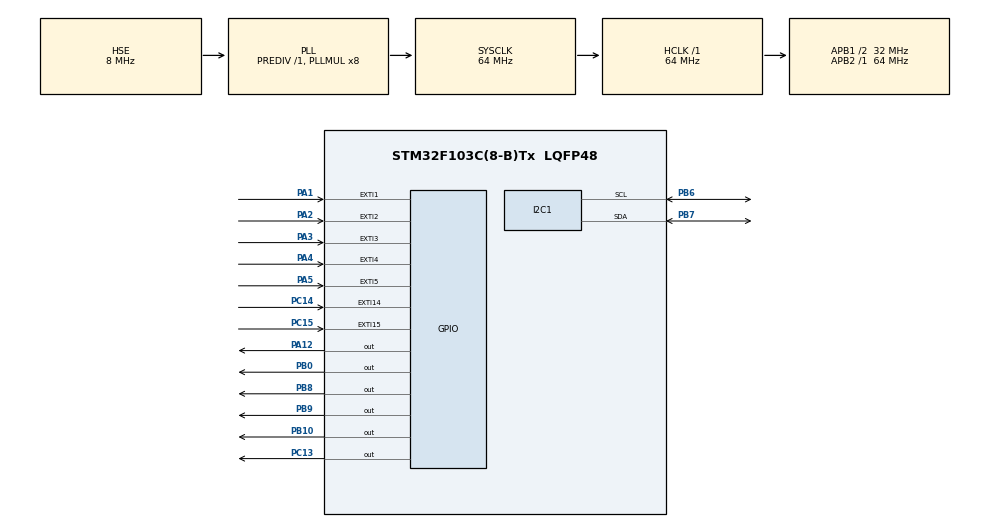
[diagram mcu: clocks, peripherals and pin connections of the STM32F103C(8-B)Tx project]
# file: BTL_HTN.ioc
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Mcu.Family=STM32F1
Mcu.Name=STM32F103C(8-B)Tx
Mcu.Package=LQFP48
NVIC.EXTI1_IRQn=true\:4\:0\:true\:false\:true\:true\:true\:true
NVIC.EXTI2_IRQn=true\:11\:0\:true\:false\:true\:true\:true\:true
NVIC.EXTI3_IRQn=true\:11\:0\:true\:false\:true\:true\:true\:true
NVIC.EXTI4_IRQn=true\:11\:0\:true\:false\:true\:true\:true\:true
NVIC.EXTI9_5_IRQn=true\:11\:0\:true\:false\:true\:true\:true\:true
NVIC.PriorityGroup=NVIC_PRIORITYGROUP_4
NVIC.TIM2_IRQn=true\:10\:0\:true\:false\:true\:true\:true\:true
NVIC.TIM3_IRQn=true\:12\:0\:true\:false\:true\:true\:true\:true
NVIC.TIM4_IRQn=true\:0\:0\:false\:false\:true\:true\:true\:true
PA1.GPIO_ModeDefaultEXTI=GPIO_MODE_IT_RISING_FALLING
PA1.GPIO_PuPd=GPIO_PULLUP
PA1.Signal=GPXTI1
PA12.Signal=GPIO_Output
PA2.GPIO_ModeDefaultEXTI=GPIO_MODE_IT_RISING_FALLING
PA2.GPIO_PuPd=GPIO_PULLUP
PA2.Signal=GPXTI2
PA3.GPIO_ModeDefaultEXTI=GPIO_MODE_IT_RISING_FALLING
PA3.GPIO_PuPd=GPIO_PULLUP
PA3.Signal=GPXTI3
PA4.GPIO_ModeDefaultEXTI=GPIO_MODE_IT_RISING_FALLING
PA4.GPIO_PuPd=GPIO_PULLUP
PA4.Signal=GPXTI4
PA5.GPIO_ModeDefaultEXTI=GPIO_MODE_IT_RISING_FALLING
PA5.GPIO_PuPd=GPIO_PULLUP
PA5.Signal=GPXTI5
PB0.GPIO_PuPd=GPIO_PULLDOWN
PB0.Signal=GPIO_Output
PB10.GPIO_PuPd=GPIO_PULLDOWN
PB10.Signal=GPIO_Output
PB6.Mode=I2C
PB6.Signal=I2C1_SCL
PB7.Mode=I2C
PB7.Signal=I2C1_SDA
PB8.GPIO_PuPd=GPIO_PULLDOWN
PB8.Signal=GPIO_Output
PB9.GPIO_PuPd=GPIO_PULLDOWN
PB9.Signal=GPIO_Output
PC13-TAMPER-RTC.GPIO_PuPd=GPIO_PULLUP
PC13-TAMPER-RTC.Signal=GPIO_Output
PC14-OSC32_IN.GPIO_ModeDefaultEXTI=GPIO_MODE_IT_RISING
PC14-OSC32_IN.GPIO_PuPd=GPIO_PULLUP
PC14-OSC32_IN.Signal=GPXTI14
PC15-OSC32_OUT.GPIO_ModeDefaultEXTI=GPIO_MODE_IT_RISING
PC15-OSC32_OUT.GPIO_PuPd=GPIO_PULLUP
PC15-OSC32_OUT.Signal=GPXTI15
PD0-OSC_IN.Mode=HSE-External-Oscillator
PD0-OSC_IN.Signal=RCC_OSC_IN
PD1-OSC_OUT.Mode=HSE-External-Oscillator
PD1-OSC_OUT.Signal=RCC_OSC_OUT
ProjectManager.HeapSize=0x200
ProjectManager.StackSize=0x400
ProjectManager.TargetToolchain=STM32CubeIDE
RCC.AHBFreq_Value=64000000
RCC.APB1CLKDivider=RCC_HCLK_DIV2
RCC.APB1Freq_Value=32000000
RCC.APB1TimFreq_Value=64000000
RCC.APB2Freq_Value=64000000
RCC.APB2TimFreq_Value=64000000
RCC.HCLKFreq_Value=64000000
RCC.PLLMUL=RCC_PLL_MUL8
RCC.PLLSourceVirtual=RCC_PLLSOURCE_HSE
RCC.SYSCLKFreq_VALUE=64000000
RCC.SYSCLKSource=RCC_SYSCLKSOURCE_PLLCLK
RCC.USBFreq_Value=64000000
TIM2.AutoReloadPreload=TIM_AUTORELOAD_PRELOAD_ENABLE
TIM2.Prescaler=63
TIM3.AutoReloadPreload=TIM_AUTORELOAD_PRELOAD_ENABLE
TIM3.Period=300
TIM3.Prescaler=63000
TIM4.AutoReloadPreload=TIM_AUTORELOAD_PRELOAD_ENABLE
TIM4.Period=1000
TIM4.Prescaler=63000
VP_TIM2_VS_ClockSourceINT.Mode=Internal
VP_TIM3_VS_ClockSourceINT.Mode=Internal
VP_TIM4_VS_ClockSourceINT.Mode=Internal
board=custom

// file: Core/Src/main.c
/* USER CODE BEGIN Header */
/**
  ******************************************************************************
  * @file           : main.c
  * @brief          : Main program body
  ******************************************************************************
  * @attention
  *
  * Copyright (c) 2024 STMicroelectronics.
  * All rights reserved.
  *
  * This software is licensed under terms that can be found in the LICENSE file
  * in the root directory of this software component.
  * If no LICENSE file comes with this software, it is provided AS-IS.
  *
  ******************************************************************************
  */
/* USER CODE END Header */
#include "main.h"

/* USER CODE BEGIN PTD */
#include "LCD.h"
#include <string.h>
#include <stdio.h>
/* USER CODE END PTD */

/* USER CODE BEGIN PD */
#include <string.h>
#include <stdio.h>
#include <stdbool.h>
/* USER CODE END PD */

I2C_HandleTypeDef hi2c1;

TIM_HandleTypeDef htim2;
TIM_HandleTypeDef htim3;
TIM_HandleTypeDef htim4;

void SystemClock_Config(void);
static void MX_GPIO_Init(void);
static void MX_TIM2_Init(void);
static void MX_TIM3_Init(void);
static void MX_I2C1_Init(void);
static void MX_TIM4_Init(void);
/* USER CODE BEGIN PFP */
void doc_dht11(void);
void xu_ly_tick_dht11(uint8_t* tick,uint8_t* data_dht11);
/* USER CODE END PFP */

/* USER CODE BEGIN 0 */
uint8_t tick[100];
uint8_t data_dht11[4] = {0x00,0x00,0x00,0x00};
volatile uint32_t tick_lan_truoc = 0;
volatile uint32_t tick_hien_tai =0;
volatile uint32_t thoi_gian_tick = 0;
int count_tick =0;

uint32_t debounceDelay = 400; // Th�?i gian ch�? debounce (miliseconds)
volatile uint32_t lastDebounceTime = 0; // Th�?i gian debounce cuối cùng
uint32_t currentTime =0;
volatile uint32_t lastDebounceTime2 = 0; // Th�?i gian debounce cuối cùng
uint32_t currentTime2 =0;
volatile uint32_t lastDebounceTime3 = 0; // Th�?i gian debounce cuối cùng
uint32_t currentTime3 =0;
volatile uint32_t lastDebounceTime4 = 0; // Th�?i gian debounce cuối cùng
uint32_t currentTime4 =0;
int flag_number=0;

int num1 =0;
int num2=0;
int num3=0;
int num4=0;
int num5 =0;
int num6 =0;
int num7=0;
int num8 =0;
int num9 =0;
int num0 =0;
int num_sao =0;
int num_thang =0;
volatile int led =0, quat =0, bom =0;
int mode = 0;
uint64_t count =0;
int flag_ngat_timer3 =1;
char  nhiet_do[20],do_am[20];
int state_lcd =0;
char mat_khau_dung[6] = {1,2,3,4,5,6};
char mat_khau_user[6] = {0,0,0,0,0,0};
int check_pass_LCD =0;
int count_mat_khau=0;
int count_may_chu_nhap_vao=0;
int flag_di_qua_nhap_mat_khau =0;
int flag_chuyen_lcd=0;
int flag_lan_dau_nhap_mat_khau =0;
int flag_lan_dau_cai_bao_thuc =1;
int count_set_ngay=0;

int flag_mode_tu_dong=1;
int flag_mode_bang_tay=0;

enum week{Mo , Tu, We, Th, Fr , Sa, Su};

int ngay=0;
int ngay_bao_thuc =0;
int thang=0;
int thang_bao_thuc=0;
int nam=0;
int nam_bao_thuc=0;
int gio=0;
int gio_bao_thuc=0;
int phut=0;
int phut_bao_thuc=0;
int giay=0;
int giay_bao_thuc=0;
int bao_nhiet_do =0;
char ngay_string[20];
char gio_string[20];
char ngay_bao_thuc_string[20];
char gio_bao_thuc_string[20];
int flag_cho_phep_chuyen_lcd =1;

int count_set_ngay1 =0;
int count_set_bao_thuc1 =0;
int count_set_bao_thuc =0;
uint8_t val_set_ngay[14] ;
uint8_t val_set_ngay_bao_thuc[14] ;

uint8_t value_ngay_bao_thuc=0;
uint8_t value_thang_bao_thuc=0;
int value_nam_bao_thuc =30;
uint8_t value_giay_bao_thuc=0;
uint8_t value_phut_bao_thuc=0;
uint8_t value_gio_bao_thuc=0;

bool flag_cho_phep_nhan_nut =1;
#define DS3231_ADDRESS 0xD0

// Convert normal decimal numbers to binary coded decimal
uint8_t decToBcd(int val)
{
  return (uint8_t)( (val/10*16) + (val%10) );
}
// Convert binary coded decimal to normal decimal numbers
int bcdToDec(uint8_t val)
{
  return (int)( (val/16*10) + (val%16) );
}

typedef struct {
	uint8_t seconds;
	uint8_t minutes;
	uint8_t hour;
	uint8_t dayofweek;
	uint8_t dayofmonth;
	uint8_t month;
	uint8_t year;
} TIME;

TIME time;

// function to set time

void Set_Time (uint8_t sec, uint8_t min, uint8_t hour, uint8_t dow, uint8_t dom, uint8_t month, uint8_t year)
{
	uint8_t set_time[7];
	set_time[0] = decToBcd(sec);
	set_time[1] = decToBcd(min);
	set_time[2] = decToBcd(hour);
	set_time[3] = decToBcd(dow);
	set_time[4] = decToBcd(dom);
	set_time[5] = decToBcd(month);
	set_time[6] = decToBcd(year);

	HAL_I2C_Mem_Write(&hi2c1, DS3231_ADDRESS, 0x00, 1, set_time, 7, 1000);
}

void Get_Time (void)
{
	uint8_t get_time[7];
	HAL_I2C_Mem_Read(&hi2c1, DS3231_ADDRESS, 0x00, 1, get_time, 7, 1000);
	time.seconds = bcdToDec(get_time[0]);
	time.minutes = bcdToDec(get_time[1]);
	time.hour = bcdToDec(get_time[2]);
	time.dayofweek = bcdToDec(get_time[3]);
	time.dayofmonth = bcdToDec(get_time[4]);
	time.month = bcdToDec(get_time[5]);
	time.year = bcdToDec(get_time[6]);
}

void lay_data_tu_lcd(uint8_t *value_set_ngay,uint8_t* ngay,uint8_t *thang, int* nam,uint8_t *gio,uint8_t *phut,uint8_t *giay)
{
	*ngay = value_set_ngay[0]*10 + value_set_ngay[1];
	*thang = value_set_ngay[2]*10 + value_set_ngay[3];
	*nam = value_set_ngay[4]*1000 + value_set_ngay[5]*100 + value_set_ngay[6]*10 + value_set_ngay[7] ;
	*gio = value_set_ngay[8]*10 + value_set_ngay[9];
	*phut = value_set_ngay[10]*10 + value_set_ngay[11];
	*giay = value_set_ngay[12]*10 + value_set_ngay[13];
}

/* USER CODE END 0 */

int main(void)
{

  /* MCU Configuration--------------------------------------------------------*/

  /* Reset of all peripherals, Initializes the Flash interface and the Systick. */
  HAL_Init();

  /* Configure the system clock */
  SystemClock_Config();

  /* Initialize all configured peripherals */
  MX_GPIO_Init();
  MX_TIM2_Init();
  MX_TIM3_Init();
  MX_I2C1_Init();
  MX_TIM4_Init();
  /* USER CODE BEGIN 2 */
  lcd_init();
  HAL_Delay(100);
  lcd_clear();
  HAL_TIM_Base_Stop_IT(&htim2);
  HAL_TIM_Base_Start_IT(&htim4);
  Set_Time(20, 30, 20, 5, 26, 4, 24);
  HAL_Delay(300);
  /* USER CODE END 2 */

  /* Infinite loop */
  while (1)
  {

    /* USER CODE BEGIN 3 */
	  // lưu ý khi cách đ�?c dht11 là dùng ngắt ngoài nên sử dụng ngắt ưu tiên cao nhất
	  // trước khi đ�?c dht11 thì g�?i hàm doc_dht11() sau đó delay 10ms và g�?i hàm xy_ly_tick_dht11
	  HAL_Delay(500);
		doc_dht11();
		HAL_Delay(10);
		xu_ly_tick_dht11(tick,data_dht11); // hàm này lấy pointer cho ra data_dht11 là 1 mảng với
		/* tương ứng 	data_dht11[0] là phần nguyên độ ẩm
						data_dht11[0] là phần thập phân độ ẩm
						data_dht11[0] là phần nguyên nhiệt độ
						data_dht11[0] là phần thập phân nhiệt độ
						*/

		bool a = (time.year == value_nam_bao_thuc)? 1:0 ;
		bool b = (time.month == value_thang_bao_thuc)? 1:0 ;
		bool c = (time.dayofmonth == value_ngay_bao_thuc)? 1:0 ;
		bool d = (time.hour == value_gio_bao_thuc)? 1:0 ;
		bool e = (time.minutes == value_phut_bao_thuc)? 1:0 ;
		bool f = (time.seconds >= value_giay_bao_thuc)? 1:0 ;
		bool flag_bat_bao_thuc = a&b&c&d&e&f;
		if(flag_bat_bao_thuc)
		{
			HAL_GPIO_WritePin(GPIOC, GPIO_PIN_13, 0);
		} else {
			HAL_GPIO_WritePin(GPIOC, GPIO_PIN_13, 1);
		}

		if(flag_ngat_timer3)
		{
			flag_ngat_timer3=0;
			switch(state_lcd%6) {
				case 0:
				{

					  sprintf(nhiet_do,"Nhiet do:%d.%doC", data_dht11[2], data_dht11[3]); // hàm này ghép chuỗi thành chuỗi nhiet_do để tiện hiển thị LCD
					  sprintf(do_am, "Do am:  %d.%d ", data_dht11[0],data_dht11[1]);		// hàm ghép chuỗi độ ẩm để hiển thị LCD
					  lcd_send_cmd (0x0C);
					  lcd_put_cur(0,1);
					  lcd_send_string(nhiet_do);
					  lcd_put_cur(1,1);
					  lcd_send_string(do_am);
					  break;
				}
				case 1:
				{

					if(flag_chuyen_lcd)
					{
						count_mat_khau=-2;
						count_may_chu_nhap_vao=0;
						flag_lan_dau_nhap_mat_khau =1;
						flag_chuyen_lcd=0;
						lcd_clear();
						lcd_put_cur(0,1);
						lcd_send_string("Nhap mat khau:");
						lcd_put_cur(1,0);
					}
						count_mat_khau++;
						count_may_chu_nhap_vao++;
						if((flag_number <= 9) && (flag_number >=0))
						{
							mat_khau_user[count_mat_khau] = flag_number;
						}
						  switch(flag_number) {
							  case 11:
							  {
								  for(int i=0 ;i < 6 ; i++)
									{
										if(mat_khau_user[i] != mat_khau_dung[i])
										{
											check_pass_LCD=0;
											break;
										}
										check_pass_LCD=1;
									}
									for(int i=0;i<6;i++)
									{
										mat_khau_user[i] =0;
									}
									if(check_pass_LCD) {
										state_lcd =2;
										flag_ngat_timer3=1;
										lcd_clear();
										lcd_put_cur(0,1);
										lcd_send_string("Mat khau dung ->>");
										flag_di_qua_nhap_mat_khau=1;
										HAL_Delay(2000);
										flag_number=0;
									} else {
										state_lcd =1;
										flag_chuyen_lcd=1;
										flag_ngat_timer3=1;
										lcd_clear();
										lcd_put_cur(0,1);
										lcd_send_string("Mat khau sai ");
										lcd_put_cur(1,1);
										lcd_send_string("Moi nhap lai  ");
										HAL_Delay(2000);
										flag_number=0;
									}
								  break;
							  }
							  default :
							  {
								  if(count_mat_khau <0)
								  {

								  } else {

								  lcd_send_string("*");
								  }
								  break;
							  }
						  }
					  break;
				}

				case 3:
				{
					if(flag_chuyen_lcd)
					{
						flag_chuyen_lcd=0;
						lcd_clear();
						lcd_put_cur(0,1);
						sprintf(ngay_string,"%02d / %02d / 20%02d",time.dayofmonth,time.month,time.year);
						lcd_send_string(ngay_string);
						sprintf(gio_string,"%02d : %02d : %02d ",time.hour,time.minutes,time.seconds);
						lcd_put_cur(1,1);
						lcd_send_string(gio_string);
						lcd_put_cur(0,1);
						lcd_send_cmd (0x0F);
						count_set_ngay=0;
						count_set_ngay1=0;
					}
					count_set_ngay++;
					if(count_set_ngay>=2)

					{
					 	 count_set_ngay1 = count_set_ngay - 2;
					 	 val_set_ngay[count_set_ngay1] = flag_number;
						 switch(flag_number)
						 {
							 case 0:
							 {
								 lcd_send_string("0");
								 break;
							 }
							 case 1:
							 {
								 lcd_send_string("1");
								 break;
							 }
							 case 2:
							 {
								 lcd_send_string("2");
								 break;
							 }
							 case 3:
							 {
								 lcd_send_string("3");
								 break;
							 }
							 case 4:
							 {
								 lcd_send_string("4");
								 break;
							 }
							 case 5:
							 {
								 lcd_send_string("5");
								 break;
							 }
							 case 6:
							 {
								 lcd_send_string("6");
								 break;
							 }
							 case 7:
							 {
								 lcd_send_string("7");
								 break;
							 }
							 case 8:
							 {
								 lcd_send_string("8");
								 break;
							 }
							 case 9:
							 {
								 lcd_send_string("9");
								 break;
							 }
							 case 11:
							 {
								 uint8_t value_ngay=0;
								 uint8_t value_thang=0;
								 int value_nam =0;
								 uint8_t value_giay=0;
								 uint8_t value_phut=0;
								 uint8_t value_gio=0;
								 lay_data_tu_lcd(val_set_ngay,&value_ngay,&value_thang,&value_nam,&value_gio,&value_phut,&value_giay);
								 bool check1 = value_ngay >0 && value_ngay<=31;
								 bool check2 = value_thang >0 && value_thang <= 12;
								 bool check3 = value_nam >2000 && value_nam <=3000;
								 bool check4 = value_gio>=0 && value_gio <=23;
								 bool check5 = value_phut>=0 && value_phut <=59;
								 bool check6 = value_giay>=0 && value_giay <=59;
								 bool check = check1 && check2 && check3 && check4 && check5 &&check6;
								 value_nam = value_nam - 2000;
								 if(check){
										state_lcd =4;
										flag_ngat_timer3=1;
										lcd_clear();
										lcd_put_cur(0,1);
										lcd_send_string("OK ->>");
										flag_number=0;
										flag_cho_phep_chuyen_lcd =1;
										lcd_send_cmd (0x0C);
										Set_Time(value_giay, value_phut, value_gio, 0, value_ngay, value_thang, value_nam);
										HAL_Delay(2000);
								 }
								 else {
									 state_lcd =3;
									flag_ngat_timer3=1;
									lcd_clear();
									lcd_put_cur(0,1);
									lcd_send_string("Nhap sai ");
									lcd_put_cur(1,1);
									lcd_send_string("Moi nhap lai ->> ");
									flag_number=0;
									flag_chuyen_lcd =1;
									flag_cho_phep_chuyen_lcd =1;
									lcd_send_cmd (0x0C);
									HAL_Delay(2000);
								 }
								 break;
							 }

						 }
					if(count_set_ngay ==3)
					{
						lcd_put_cur(0,6);
					}
					if(count_set_ngay ==5)
					{
						lcd_put_cur(0,11);
					}
					if(count_set_ngay ==9)
					{
						lcd_put_cur(1,1);
					}
					if(count_set_ngay ==11)
					{
						lcd_put_cur(1,6);
					}
					if(count_set_ngay ==13)
					{
						lcd_put_cur(1,11);
					}
					if(count_set_ngay ==15 )
					{
						lcd_send_cmd (0x0C);
					}
					}
					  break;
				}
				case 5:
				{
					if(flag_chuyen_lcd)
					{
						flag_chuyen_lcd=0;
						lcd_clear();

						if(flag_lan_dau_cai_bao_thuc ==1)
						{
							lcd_put_cur(0,1);
							sprintf(ngay_string,"%02d / %02d / 20%02d",time.dayofmonth,time.month,time.year);
							lcd_send_string(ngay_string);
							sprintf(gio_string,"%02d : %02d : %02d ",time.hour,time.minutes,time.seconds);
							lcd_put_cur(1,1);
							lcd_send_string(gio_string);
							flag_lan_dau_cai_bao_thuc=0;
						} else {
							lcd_put_cur(0,1);
							sprintf(ngay_bao_thuc_string,"%02d / %02d / 20%02d",value_ngay_bao_thuc,value_thang_bao_thuc,value_nam_bao_thuc);
							lcd_send_string(ngay_bao_thuc_string);
							sprintf(gio_bao_thuc_string,"%02d : %02d : %02d ",value_gio_bao_thuc,value_phut_bao_thuc,value_giay_bao_thuc);
							lcd_put_cur(1,1);
							lcd_send_string(gio_bao_thuc_string);
						}

						lcd_put_cur(0,1);
						lcd_send_cmd (0x0F);
						count_set_bao_thuc=0;
						count_set_bao_thuc1=0;
					}
					count_set_bao_thuc++;
					if(count_set_bao_thuc>=2)

					{
					 	 count_set_bao_thuc1 = count_set_bao_thuc - 2;
					 	 val_set_ngay_bao_thuc[count_set_bao_thuc1] = flag_number;
						 switch(flag_number)
						 {
							 case 0:
							 {
								 lcd_send_string("0");
								 break;
							 }
							 case 1:
							 {
								 lcd_send_string("1");
								 break;
							 }
							 case 2:
							 {
								 lcd_send_string("2");
								 break;
							 }
							 case 3:
							 {
								 lcd_send_string("3");
								 break;
							 }
							 case 4:
							 {
								 lcd_send_string("4");
								 break;
							 }
							 case 5:
							 {
								 lcd_send_string("5");
								 break;
							 }
							 case 6:
							 {
								 lcd_send_string("6");
								 break;
							 }
							 case 7:
							 {
								 lcd_send_string("7");
								 break;
							 }
							 case 8:
							 {
								 lcd_send_string("8");
								 break;
							 }
							 case 9:
							 {
								 lcd_send_string("9");
								 break;
							 }
							 case 11:
							 {
								 lay_data_tu_lcd(val_set_ngay_bao_thuc,&value_ngay_bao_thuc,&value_thang_bao_thuc,&value_nam_bao_thuc,&value_gio_bao_thuc,&value_phut_bao_thuc,&value_giay_bao_thuc);
								 bool check1 = value_ngay_bao_thuc >0 && value_ngay_bao_thuc<=31;
								 bool check2 = value_thang_bao_thuc >0 && value_thang_bao_thuc <= 12;
								 bool check3 = value_nam_bao_thuc >2000 && value_nam_bao_thuc <=3000;
								 bool check4 = value_gio_bao_thuc>=0 && value_gio_bao_thuc <=23;
								 bool check5 = value_phut_bao_thuc>=0 && value_phut_bao_thuc <=59;
								 bool check6 = value_giay_bao_thuc>=0 && value_giay_bao_thuc <=59;
								 bool check = check1 && check2 && check3 && check4 && check5 &&check6;
								 value_nam_bao_thuc = value_nam_bao_thuc - 2000;
								 if(check){
										state_lcd =0;
										flag_ngat_timer3=1;
										lcd_clear();
										lcd_put_cur(0,1);
										lcd_send_string("OK ->>");
										flag_number=0;
										flag_cho_phep_chuyen_lcd =1;
										lcd_send_cmd (0x0C);
										HAL_Delay(1500);
								 }
								 else {
									 state_lcd =5;
									flag_ngat_timer3=1;
									lcd_clear();
									lcd_put_cur(0,1);
									lcd_send_string("Nhap sai ");
									lcd_put_cur(1,1);
									lcd_send_string("Moi nhap lai ->> ");
									flag_number=0;
									flag_chuyen_lcd =1;
									flag_cho_phep_chuyen_lcd =1;
									lcd_send_cmd (0x0C);
									HAL_Delay(1500);
								 }
								 break;
							 }

						 }
					if(count_set_bao_thuc ==3)
					{
						lcd_put_cur(0,6);
					}
					if(count_set_bao_thuc ==5)
					{
						lcd_put_cur(0,11);
					}
					if(count_set_bao_thuc ==9)
					{
						lcd_put_cur(1,1);
					}
					if(count_set_bao_thuc ==11)
					{
						lcd_put_cur(1,6);
					}
					if(count_set_bao_thuc ==13)
					{
						lcd_put_cur(1,11);
					}
					if(count_set_bao_thuc ==15 )
					{
						lcd_send_cmd (0x0C);
					}
					}
					  break;
				}
				case 4:
				{

					lcd_clear();
					lcd_send_cmd (0x0C);
					lcd_put_cur(0,1);
					lcd_send_string("cai bao thuc");
					break;
				}

			}
		}

		// mỗi khi nhấn nút nhấn thì sẽ tăng các giá trị num1,num2,num3,num4,.... lên 1
  }
  /* USER CODE END 3 */
}

void SystemClock_Config(void)
{
  RCC_OscInitTypeDef RCC_OscInitStruct = {0};
  RCC_ClkInitTypeDef RCC_ClkInitStruct = {0};

  /** Initializes the RCC Oscillators according to the specified parameters
  * in the RCC_OscInitTypeDef structure.
  */
  RCC_OscInitStruct.OscillatorType = RCC_OSCILLATORTYPE_HSE;
  RCC_OscInitStruct.HSEState = RCC_HSE_ON;
  RCC_OscInitStruct.HSEPredivValue = RCC_HSE_PREDIV_DIV1;
  RCC_OscInitStruct.HSIState = RCC_HSI_ON;
  RCC_OscInitStruct.PLL.PLLState = RCC_PLL_ON;
  RCC_OscInitStruct.PLL.PLLSource = RCC_PLLSOURCE_HSE;
  RCC_OscInitStruct.PLL.PLLMUL = RCC_PLL_MUL8;
  if (HAL_RCC_OscConfig(&RCC_OscInitStruct) != HAL_OK)
  {
    Error_Handler();
  }

  /** Initializes the CPU, AHB and APB buses clocks
  */
  RCC_ClkInitStruct.ClockType = RCC_CLOCKTYPE_HCLK|RCC_CLOCKTYPE_SYSCLK
                              |RCC_CLOCKTYPE_PCLK1|RCC_CLOCKTYPE_PCLK2;
  RCC_ClkInitStruct.SYSCLKSource = RCC_SYSCLKSOURCE_PLLCLK;
  RCC_ClkInitStruct.AHBCLKDivider = RCC_SYSCLK_DIV1;
  RCC_ClkInitStruct.APB1CLKDivider = RCC_HCLK_DIV2;
  RCC_ClkInitStruct.APB2CLKDivider = RCC_HCLK_DIV1;

  if (HAL_RCC_ClockConfig(&RCC_ClkInitStruct, FLASH_LATENCY_2) != HAL_OK)
  {
    Error_Handler();
  }
}

static void MX_I2C1_Init(void)
{

  hi2c1.Instance = I2C1;
  hi2c1.Init.ClockSpeed = 100000;
  hi2c1.Init.DutyCycle = I2C_DUTYCYCLE_2;
  hi2c1.Init.OwnAddress1 = 0;
  hi2c1.Init.AddressingMode = I2C_ADDRESSINGMODE_7BIT;
  hi2c1.Init.DualAddressMode = I2C_DUALADDRESS_DISABLE;
  hi2c1.Init.OwnAddress2 = 0;
  hi2c1.Init.GeneralCallMode = I2C_GENERALCALL_DISABLE;
  hi2c1.Init.NoStretchMode = I2C_NOSTRETCH_DISABLE;
  if (HAL_I2C_Init(&hi2c1) != HAL_OK)
  {
    Error_Handler();
  }

}

static void MX_TIM2_Init(void)
{

  TIM_ClockConfigTypeDef sClockSourceConfig = {0};
  TIM_MasterConfigTypeDef sMasterConfig = {0};

  htim2.Instance = TIM2;
  htim2.Init.Prescaler = 63;
  htim2.Init.CounterMode = TIM_COUNTERMODE_UP;
  htim2.Init.Period = 65535;
  htim2.Init.ClockDivision = TIM_CLOCKDIVISION_DIV1;
  htim2.Init.AutoReloadPreload = TIM_AUTORELOAD_PRELOAD_ENABLE;
  if (HAL_TIM_Base_Init(&htim2) != HAL_OK)
  {
    Error_Handler();
  }
  sClockSourceConfig.ClockSource = TIM_CLOCKSOURCE_INTERNAL;
  if (HAL_TIM_ConfigClockSource(&htim2, &sClockSourceConfig) != HAL_OK)
  {
    Error_Handler();
  }
  sMasterConfig.MasterOutputTrigger = TIM_TRGO_RESET;
  sMasterConfig.MasterSlaveMode = TIM_MASTERSLAVEMODE_DISABLE;
  if (HAL_TIMEx_MasterConfigSynchronization(&htim2, &sMasterConfig) != HAL_OK)
  {
    Error_Handler();
  }

}

static void MX_TIM3_Init(void)
{

  TIM_ClockConfigTypeDef sClockSourceConfig = {0};
  TIM_MasterConfigTypeDef sMasterConfig = {0};

  htim3.Instance = TIM3;
  htim3.Init.Prescaler = 63000;
  htim3.Init.CounterMode = TIM_COUNTERMODE_UP;
  htim3.Init.Period = 300;
  htim3.Init.ClockDivision = TIM_CLOCKDIVISION_DIV1;
  htim3.Init.AutoReloadPreload = TIM_AUTORELOAD_PRELOAD_ENABLE;
  if (HAL_TIM_Base_Init(&htim3) != HAL_OK)
  {
    Error_Handler();
  }
  sClockSourceConfig.ClockSource = TIM_CLOCKSOURCE_INTERNAL;
  if (HAL_TIM_ConfigClockSource(&htim3, &sClockSourceConfig) != HAL_OK)
  {
    Error_Handler();
  }
  sMasterConfig.MasterOutputTrigger = TIM_TRGO_RESET;
  sMasterConfig.MasterSlaveMode = TIM_MASTERSLAVEMODE_DISABLE;
  if (HAL_TIMEx_MasterConfigSynchronization(&htim3, &sMasterConfig) != HAL_OK)
  {
    Error_Handler();
  }

}

static void MX_TIM4_Init(void)
{

  TIM_ClockConfigTypeDef sClockSourceConfig = {0};
  TIM_MasterConfigTypeDef sMasterConfig = {0};

  htim4.Instance = TIM4;
  htim4.Init.Prescaler = 63000;
  htim4.Init.CounterMode = TIM_COUNTERMODE_UP;
  htim4.Init.Period = 1000;
  htim4.Init.ClockDivision = TIM_CLOCKDIVISION_DIV1;
  htim4.Init.AutoReloadPreload = TIM_AUTORELOAD_PRELOAD_ENABLE;
  if (HAL_TIM_Base_Init(&htim4) != HAL_OK)
  {
    Error_Handler();
  }
  sClockSourceConfig.ClockSource = TIM_CLOCKSOURCE_INTERNAL;
  if (HAL_TIM_ConfigClockSource(&htim4, &sClockSourceConfig) != HAL_OK)
  {
    Error_Handler();
  }
  sMasterConfig.MasterOutputTrigger = TIM_TRGO_RESET;
  sMasterConfig.MasterSlaveMode = TIM_MASTERSLAVEMODE_DISABLE;
  if (HAL_TIMEx_MasterConfigSynchronization(&htim4, &sMasterConfig) != HAL_OK)
  {
    Error_Handler();
  }

}

static void MX_GPIO_Init(void)
{
  GPIO_InitTypeDef GPIO_InitStruct = {0};

  /* GPIO Ports Clock Enable */
  __HAL_RCC_GPIOC_CLK_ENABLE();
  __HAL_RCC_GPIOD_CLK_ENABLE();
  __HAL_RCC_GPIOA_CLK_ENABLE();
  __HAL_RCC_GPIOB_CLK_ENABLE();

  /*Configure GPIO pin Output Level */
  HAL_GPIO_WritePin(GPIOC, GPIO_PIN_13, GPIO_PIN_RESET);

  /*Configure GPIO pin Output Level */
  HAL_GPIO_WritePin(GPIOB, GPIO_PIN_0|GPIO_PIN_10|GPIO_PIN_8|GPIO_PIN_9, GPIO_PIN_RESET);

  /*Configure GPIO pin Output Level */
  HAL_GPIO_WritePin(GPIOA, GPIO_PIN_12, GPIO_PIN_RESET);

  /*Configure GPIO pin : PC13 */
  GPIO_InitStruct.Pin = GPIO_PIN_13;
  GPIO_InitStruct.Mode = GPIO_MODE_OUTPUT_PP;
  GPIO_InitStruct.Pull = GPIO_PULLUP;
  GPIO_InitStruct.Speed = GPIO_SPEED_FREQ_LOW;
  HAL_GPIO_Init(GPIOC, &GPIO_InitStruct);

  /*Configure GPIO pins : PC14 PC15 */
  GPIO_InitStruct.Pin = GPIO_PIN_14|GPIO_PIN_15;
  GPIO_InitStruct.Mode = GPIO_MODE_IT_RISING;
  GPIO_InitStruct.Pull = GPIO_PULLUP;
  HAL_GPIO_Init(GPIOC, &GPIO_InitStruct);

  /*Configure GPIO pins : PA1 PA2 PA3 PA4
                           PA5 */
  GPIO_InitStruct.Pin = GPIO_PIN_1|GPIO_PIN_2|GPIO_PIN_3|GPIO_PIN_4
                          |GPIO_PIN_5;
  GPIO_InitStruct.Mode = GPIO_MODE_IT_RISING_FALLING;
  GPIO_InitStruct.Pull = GPIO_PULLUP;
  HAL_GPIO_Init(GPIOA, &GPIO_InitStruct);

  /*Configure GPIO pins : PB0 PB10 PB8 PB9 */
  GPIO_InitStruct.Pin = GPIO_PIN_0|GPIO_PIN_10|GPIO_PIN_8|GPIO_PIN_9;
  GPIO_InitStruct.Mode = GPIO_MODE_OUTPUT_PP;
  GPIO_InitStruct.Pull = GPIO_PULLDOWN;
  GPIO_InitStruct.Speed = GPIO_SPEED_FREQ_LOW;
  HAL_GPIO_Init(GPIOB, &GPIO_InitStruct);

  /*Configure GPIO pin : PA12 */
  GPIO_InitStruct.Pin = GPIO_PIN_12;
  GPIO_InitStruct.Mode = GPIO_MODE_OUTPUT_PP;
  GPIO_InitStruct.Pull = GPIO_NOPULL;
  GPIO_InitStruct.Speed = GPIO_SPEED_FREQ_LOW;
  HAL_GPIO_Init(GPIOA, &GPIO_InitStruct);

  /* EXTI interrupt init*/
  HAL_NVIC_SetPriority(EXTI1_IRQn, 4, 0);
  HAL_NVIC_EnableIRQ(EXTI1_IRQn);

  HAL_NVIC_SetPriority(EXTI2_IRQn, 11, 0);
  HAL_NVIC_EnableIRQ(EXTI2_IRQn);

  HAL_NVIC_SetPriority(EXTI3_IRQn, 11, 0);
  HAL_NVIC_EnableIRQ(EXTI3_IRQn);

  HAL_NVIC_SetPriority(EXTI4_IRQn, 11, 0);
  HAL_NVIC_EnableIRQ(EXTI4_IRQn);

  HAL_NVIC_SetPriority(EXTI9_5_IRQn, 11, 0);
  HAL_NVIC_EnableIRQ(EXTI9_5_IRQn);

}

/* USER CODE BEGIN 4 */
void HAL_GPIO_EXTI_Callback(uint16_t GPIO_Pin)
{
	if(GPIO_Pin == GPIO_PIN_2)
	{
		currentTime = HAL_GetTick(); // Lấy th�?i gian hiện tại
		if ((currentTime - lastDebounceTime) > debounceDelay)
		{
			// Cập nhật trạng thái nút nhấn chỉ khi đã qua th�?i gian debounce
			if (HAL_GPIO_ReadPin(GPIOA, GPIO_PIN_2) == 0)
			{
				HAL_GPIO_WritePin(GPIOB, GPIO_PIN_8,0);
				HAL_GPIO_WritePin(GPIOB, GPIO_PIN_9,1);
				HAL_GPIO_WritePin(GPIOB, GPIO_PIN_10,1);
				HAL_GPIO_WritePin(GPIOB, GPIO_PIN_0,1);
				if ((HAL_GPIO_ReadPin(GPIOA, GPIO_PIN_2) == 0) )
				{
					HAL_TIM_Base_Start_IT(&htim3);
					num1++;
					flag_number=1;
					flag_ngat_timer3=1;
				} else {
					HAL_GPIO_WritePin(GPIOB, GPIO_PIN_8,1);
					HAL_GPIO_WritePin(GPIOB, GPIO_PIN_9,0);
					HAL_GPIO_WritePin(GPIOB, GPIO_PIN_10,1);
					HAL_GPIO_WritePin(GPIOB, GPIO_PIN_0,1);
					if ((HAL_GPIO_ReadPin(GPIOA, GPIO_PIN_2) == 0))
					{
						HAL_TIM_Base_Start_IT(&htim3);
						num2++;
						flag_number=2;
						flag_ngat_timer3=1;
					} else {
						HAL_GPIO_WritePin(GPIOB, GPIO_PIN_8,1);
						HAL_GPIO_WritePin(GPIOB, GPIO_PIN_9,1);
						HAL_GPIO_WritePin(GPIOB, GPIO_PIN_10,0);
						HAL_GPIO_WritePin(GPIOB, GPIO_PIN_0,1);
						if ((HAL_GPIO_ReadPin(GPIOA, GPIO_PIN_2) == 0))
						{
							HAL_TIM_Base_Start_IT(&htim3);
							num3++;
							flag_number=3;
							flag_ngat_timer3=1;
						}
					}
				}

				HAL_GPIO_WritePin(GPIOB, GPIO_PIN_8,0);
				HAL_GPIO_WritePin(GPIOB, GPIO_PIN_9,0);
				HAL_GPIO_WritePin(GPIOB, GPIO_PIN_10,0);
				HAL_GPIO_WritePin(GPIOB, GPIO_PIN_0,0);
			}

			lastDebounceTime = currentTime; // Cập nhật th�?i gian debounce cuối cùng
		}
	}

	if(GPIO_Pin == GPIO_PIN_3)
		{
			currentTime = HAL_GetTick(); // Lấy th�?i gian hiện tại
			if ((currentTime - lastDebounceTime) > debounceDelay)
			{
				// Cập nhật trạng thái nút nhấn chỉ khi đã qua th�?i gian debounce
				if (HAL_GPIO_ReadPin(GPIOA, GPIO_PIN_3) == 0)
				{
					HAL_GPIO_WritePin(GPIOB, GPIO_PIN_8,0);
					HAL_GPIO_WritePin(GPIOB, GPIO_PIN_9,1);
					HAL_GPIO_WritePin(GPIOB, GPIO_PIN_10,1);
					HAL_GPIO_WritePin(GPIOB, GPIO_PIN_0,1);
					if ((HAL_GPIO_ReadPin(GPIOA, GPIO_PIN_3) == 0) )
					{
						HAL_TIM_Base_Start_IT(&htim3);
						num4++;
						flag_number=4;
						flag_ngat_timer3=1;
					} else {
						HAL_GPIO_WritePin(GPIOB, GPIO_PIN_8,1);
						HAL_GPIO_WritePin(GPIOB, GPIO_PIN_9,0);
						HAL_GPIO_WritePin(GPIOB, GPIO_PIN_10,1);
						HAL_GPIO_WritePin(GPIOB, GPIO_PIN_0,1);
						if ((HAL_GPIO_ReadPin(GPIOA, GPIO_PIN_3) == 0) )
						{
							HAL_TIM_Base_Start_IT(&htim3);
							num5++;
							flag_number=5;
							flag_ngat_timer3=1;
						} else {
							HAL_GPIO_WritePin(GPIOB, GPIO_PIN_8,1);
							HAL_GPIO_WritePin(GPIOB, GPIO_PIN_9,1);
							HAL_GPIO_WritePin(GPIOB, GPIO_PIN_10,0);
							HAL_GPIO_WritePin(GPIOB, GPIO_PIN_0,1);
							if ((HAL_GPIO_ReadPin(GPIOA, GPIO_PIN_3) == 0) && (flag_cho_phep_nhan_nut == 1))
							{
								flag_cho_phep_nhan_nut = 0;
								HAL_TIM_Base_Start_IT(&htim3);
								num6++;
								flag_number=6;
								flag_ngat_timer3=1;
							}
						}
					}

					HAL_GPIO_WritePin(GPIOB, GPIO_PIN_8,0);
					HAL_GPIO_WritePin(GPIOB, GPIO_PIN_9,0);
					HAL_GPIO_WritePin(GPIOB, GPIO_PIN_10,0);
					HAL_GPIO_WritePin(GPIOB, GPIO_PIN_0,0);
				}

				lastDebounceTime = currentTime; // Cập nhật th�?i gian debounce cuối cùng
			}
		}

	if(GPIO_Pin == GPIO_PIN_4)
		{
			currentTime = HAL_GetTick(); // Lấy th�?i gian hiện tại
			if ((currentTime - lastDebounceTime) > debounceDelay)
			{
				// Cập nhật trạng thái nút nhấn chỉ khi đã qua th�?i gian debounce
				if (HAL_GPIO_ReadPin(GPIOA, GPIO_PIN_4) == 0)
				{
					HAL_GPIO_WritePin(GPIOB, GPIO_PIN_8,0);
					HAL_GPIO_WritePin(GPIOB, GPIO_PIN_9,1);
					HAL_GPIO_WritePin(GPIOB, GPIO_PIN_10,1);
					HAL_GPIO_WritePin(GPIOB, GPIO_PIN_0,1);
					if (HAL_GPIO_ReadPin(GPIOA, GPIO_PIN_4) == 0)
					{
						num7++;
						flag_number=7;
						flag_ngat_timer3=1;
					} else {
						HAL_GPIO_WritePin(GPIOB, GPIO_PIN_8,1);
						HAL_GPIO_WritePin(GPIOB, GPIO_PIN_9,0);
						HAL_GPIO_WritePin(GPIOB, GPIO_PIN_10,1);
						HAL_GPIO_WritePin(GPIOB, GPIO_PIN_0,1);
						if (HAL_GPIO_ReadPin(GPIOA, GPIO_PIN_4) == 0)
						{
							num8++;
							flag_number=8;
							flag_ngat_timer3=1;
						} else {
							HAL_GPIO_WritePin(GPIOB, GPIO_PIN_8,1);
							HAL_GPIO_WritePin(GPIOB, GPIO_PIN_9,1);
							HAL_GPIO_WritePin(GPIOB, GPIO_PIN_10,0);
							HAL_GPIO_WritePin(GPIOB, GPIO_PIN_0,1);
							if (HAL_GPIO_ReadPin(GPIOA, GPIO_PIN_4) == 0)
							{
								num9++;
								flag_number=9;
								flag_ngat_timer3=1;
							}
						}
					}

					HAL_GPIO_WritePin(GPIOB, GPIO_PIN_8,0);
					HAL_GPIO_WritePin(GPIOB, GPIO_PIN_9,0);
					HAL_GPIO_WritePin(GPIOB, GPIO_PIN_10,0);
					HAL_GPIO_WritePin(GPIOB, GPIO_PIN_0,0);
				}

				lastDebounceTime = currentTime; // Cập nhật th�?i gian debounce cuối cùng
			}
		}

	if(GPIO_Pin == GPIO_PIN_5)
		{
			currentTime = HAL_GetTick(); // Lấy th�?i gian hiện tại
			if ((currentTime - lastDebounceTime) > debounceDelay)
			{
				// Cập nhật trạng thái nút nhấn chỉ khi đã qua th�?i gian debounce
				if (HAL_GPIO_ReadPin(GPIOA, GPIO_PIN_5) == 0)
				{
					HAL_GPIO_WritePin(GPIOB, GPIO_PIN_8,0);
					HAL_GPIO_WritePin(GPIOB, GPIO_PIN_9,1);
					HAL_GPIO_WritePin(GPIOB, GPIO_PIN_10,1);
					HAL_GPIO_WritePin(GPIOB, GPIO_PIN_0,1);
					if ((HAL_GPIO_ReadPin(GPIOA, GPIO_PIN_5) == 0))
					{
							HAL_TIM_Base_Start_IT(&htim3);
							num_sao++;

//							if(state_lcd ==1)
//							{
//								if(flag_di_qua_nhap_mat_khau==1)
//								{
//									state_lcd ++;
//								} else {
//
//								}
//							} else {
//								flag_cho_phep_chuyen_lcd==1;
//								state_lcd ++;
//							}
							switch(state_lcd)
							{
								case 1:
								{
									if(flag_di_qua_nhap_mat_khau==1)
									{
										state_lcd ++;
									} else {

									}
									break;
								}
								case 3:
								{
									if(flag_cho_phep_chuyen_lcd==1)
									{
										state_lcd++;
									}
									break;
								}
								default:
								{
									state_lcd++;
									break;
								}
							}
							flag_chuyen_lcd=1;
							flag_number=10;
							flag_ngat_timer3=1;
					} else {
						HAL_GPIO_WritePin(GPIOB, GPIO_PIN_8,1);
						HAL_GPIO_WritePin(GPIOB, GPIO_PIN_9,0);
						HAL_GPIO_WritePin(GPIOB, GPIO_PIN_10,1);
						HAL_GPIO_WritePin(GPIOB, GPIO_PIN_0,1);
						if (HAL_GPIO_ReadPin(GPIOA, GPIO_PIN_5) == 0)
						{
							num0++;
							flag_number=0;
							flag_ngat_timer3=1;
						} else {
							HAL_GPIO_WritePin(GPIOB, GPIO_PIN_8,1);
							HAL_GPIO_WritePin(GPIOB, GPIO_PIN_9,1);
							HAL_GPIO_WritePin(GPIOB, GPIO_PIN_10,0);
							HAL_GPIO_WritePin(GPIOB, GPIO_PIN_0,1);
							if ((HAL_GPIO_ReadPin(GPIOA, GPIO_PIN_5) == 0))
							{
								HAL_TIM_Base_Start_IT(&htim3);
								flag_number=11;
								flag_ngat_timer3=1;
							}
						}
					}

					HAL_GPIO_WritePin(GPIOB, GPIO_PIN_8,0);
					HAL_GPIO_WritePin(GPIOB, GPIO_PIN_9,0);
					HAL_GPIO_WritePin(GPIOB, GPIO_PIN_10,0);
					HAL_GPIO_WritePin(GPIOB, GPIO_PIN_0,0);
				}

				lastDebounceTime = currentTime; // Cập nhật th�?i gian debounce cuối cùng
			}
		}
	if(GPIO_Pin == GPIO_PIN_1)
		{

				tick_hien_tai = __HAL_TIM_GET_COUNTER(&htim2);
				thoi_gian_tick = tick_hien_tai - tick_lan_truoc;
				tick_lan_truoc = tick_hien_tai;
				tick[count_tick] = thoi_gian_tick;
				count_tick++;
				if(count_tick >84)
				{
					  HAL_TIM_Base_Stop_IT(&htim2);
					  HAL_NVIC_DisableIRQ(EXTI1_IRQn);
					  GPIO_InitTypeDef GPIO_InitStruct = {0};
					  GPIO_InitStruct.Pull = GPIO_NOPULL;
					  GPIO_InitStruct.Mode = GPIO_MODE_OUTPUT_PP  ;
					  GPIO_InitStruct.Pin = GPIO_PIN_1;
					  GPIO_InitStruct.Speed = GPIO_SPEED_FREQ_LOW;
					  HAL_GPIO_Init(GPIOA, &GPIO_InitStruct);
				}
		}
	if(GPIO_Pin == GPIO_PIN_14)
	{
		currentTime = HAL_GetTick(); // Lấy th�?i gian hiện tại
		if ((currentTime - lastDebounceTime) > debounceDelay)
		{
			// Cập nhật trạng thái nút nhấn chỉ khi đã qua th�?i gian debounce
			if (HAL_GPIO_ReadPin(GPIOC, GPIO_PIN_14) == 1)
			{
				flag_mode_tu_dong=1;
				flag_mode_bang_tay=0;
			}

			lastDebounceTime = currentTime; // Cập nhật th�?i gian debounce cuối cùng
		}
	}
	if(GPIO_Pin == GPIO_PIN_14)
		{
			currentTime = HAL_GetTick(); // Lấy th�?i gian hiện tại
			if ((currentTime - lastDebounceTime) > debounceDelay)
			{
				// Cập nhật trạng thái nút nhấn chỉ khi đã qua th�?i gian debounce
				if (HAL_GPIO_ReadPin(GPIOC, GPIO_PIN_15) == 1)
				{
					flag_mode_bang_tay=1;
					flag_mode_tu_dong=0;
				}

				lastDebounceTime = currentTime; // Cập nhật th�?i gian debounce cuối cùng
			}
		}

}
void doc_dht11(void)
{
	HAL_TIM_Base_Start_IT(&htim2);
	HAL_NVIC_DisableIRQ(EXTI1_IRQn);
	count_tick =0;
	GPIO_InitTypeDef GPIO_InitStruct = {0};

	  GPIO_InitStruct.Pull = GPIO_PULLUP;
	  GPIO_InitStruct.Mode = GPIO_MODE_INPUT ;
	  GPIO_InitStruct.Pin = GPIO_PIN_1;
	  GPIO_InitStruct.Speed = GPIO_SPEED_FREQ_LOW;
	  HAL_GPIO_Init(GPIOA, &GPIO_InitStruct);

	  HAL_Delay(1);

	GPIO_InitStruct.Pull = GPIO_NOPULL;
	GPIO_InitStruct.Mode = GPIO_MODE_OUTPUT_PP  ;
	GPIO_InitStruct.Pin = GPIO_PIN_1;
	GPIO_InitStruct.Speed = GPIO_SPEED_FREQ_LOW;
	HAL_GPIO_Init(GPIOA, &GPIO_InitStruct);

	HAL_GPIO_WritePin(GPIOA, GPIO_PIN_1, 0);

	HAL_Delay(20);
	if(count_tick ==0)
	{
		__HAL_TIM_SET_COUNTER(&htim2,0);
		tick_lan_truoc=0;
	}
	GPIO_InitStruct.Pin = GPIO_PIN_1;
	GPIO_InitStruct.Mode = GPIO_MODE_IT_RISING_FALLING;
	GPIO_InitStruct.Pull = GPIO_PULLUP;
	HAL_GPIO_Init(GPIOA, &GPIO_InitStruct);
	HAL_NVIC_EnableIRQ(EXTI1_IRQn);

}
void xu_ly_tick_dht11(uint8_t* tick,uint8_t* data_dht11)
{
	HAL_TIM_Base_Stop_IT(&htim2);
	HAL_NVIC_DisableIRQ(EXTI1_IRQn);
	int count_data_dht11=0;
	for(int i =4;i<= 82;i+=2)
	{
			data_dht11[count_data_dht11/8] <<= 1;
			if( tick[i] > tick[i+1] ) {
				data_dht11[count_data_dht11/8] |= 0;
			}	else {
				data_dht11[count_data_dht11/8] |= 1;
			}
		count_data_dht11++;
	}

}
void HAL_TIM_PeriodElapsedCallback (TIM_HandleTypeDef *htim)
{

	if(htim->Instance == TIM2)
		{
			count++;
		}
	if(htim->Instance == TIM3)
	{
		flag_cho_phep_nhan_nut=1;
		HAL_TIM_Base_Stop_IT(&htim3);
	}
	if(htim->Instance == TIM4)
	{
		if(state_lcd%6 == 2){
			  Get_Time();
			  sprintf(gio_string,"%02d : %02d : %02d ",time.hour,time.minutes,time.seconds);
			  sprintf(ngay_string,"%02d / %02d / 20%02d",time.dayofmonth,time.month,time.year);
			  lcd_clear();
			  lcd_send_cmd (0x0C);
			  lcd_put_cur(0,1);
			  lcd_send_string(ngay_string);
			  lcd_put_cur(1,1);
			  lcd_send_string(gio_string);

		}
	}

}
/* USER CODE END 4 */

void Error_Handler(void)
{
  __disable_irq();
  while (1)
  {
  }
}
